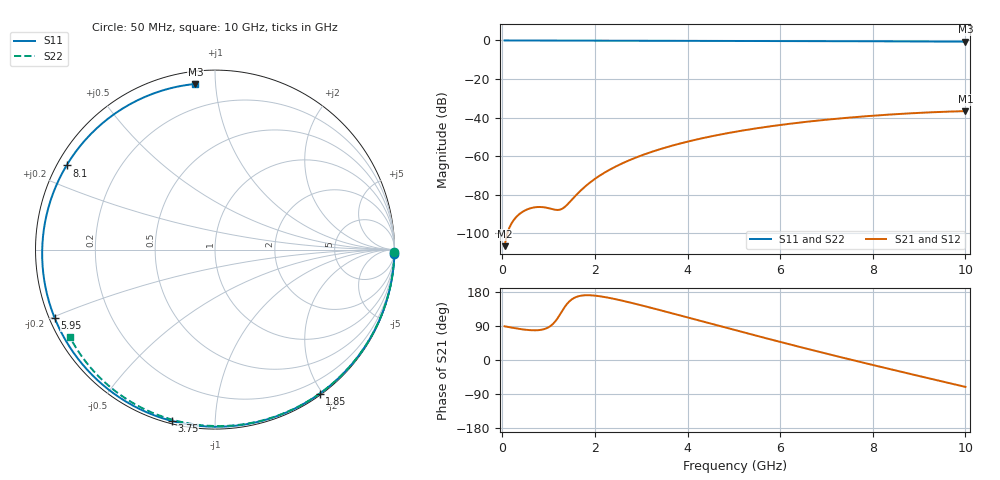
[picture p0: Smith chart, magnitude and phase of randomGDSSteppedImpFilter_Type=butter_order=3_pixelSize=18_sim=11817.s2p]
! freq	dB(S11)	phase(S11)	dB(S12)	phase(S12)
!  dB(S21)	phase(S21)	dB(S22)	phase(S22)
!S-par simulation data
#  GHz  S  DB  R 50
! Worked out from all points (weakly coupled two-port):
!   200 points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, 50 MHz to 10 GHz, reference 50 ohm
!   highest |S21| = -36.69 dB at 10 GHz (marker M1); lowest = -106.8 dB at 50 MHz (marker M2)
!   lowest |S11| = -0.6 dB at 10 GHz (marker M3), VSWR 27.33, Z = 3.27 + j44.3 ohm
!   |S11| at or under -10 dB: nowhere
!   |S22| runs from -0.5 to 0.0 dB; largest |S21 - S12| = 0
!   S11 on the Smith chart (normalised r, x): 50 MHz: 0, -76; 1.85 GHz: 0.02, -1.96; 3.75 GHz: 0.01, -0.78; 5.95 GHz: 0.02, -0.21; 8.1 GHz: 0.03, +0.26; 10 GHz: 0.07, +0.89
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0.05  -0.00 -1.5  -106.80 89.0  -106.80 89.0  -0.00 -0.9
0.4  -0.02 -12.0  -89.56 81.5  -89.56 81.5  -0.01 -6.9
0.8  -0.03 -23.8  -86.45 79.0  -86.45 79.0  -0.02 -13.7
1.6  -0.06 -47.0  -80.16 166.5  -80.16 166.5  -0.03 -27.2
1.75  -0.06 -51.2  -76.66 170.5  -76.66 170.5  -0.04 -29.7
1.85  -0.07 -54.0  -74.60 171.0  -74.60 171.0  -0.04 -31.4
2.15  -0.08 -62.3  -69.47 167.4  -69.47 167.4  -0.05 -36.4
2.5  -0.09 -71.8  -64.84 159.0  -64.84 159.0  -0.05 -42.1
2.9  -0.10 -82.4  -60.66 147.4  -60.66 147.4  -0.06 -48.5
3.4  -0.12 -95.3  -56.49 131.8  -56.49 131.8  -0.08 -56.5
3.75  -0.13 -104.2  -54.07 120.5  -54.07 120.5  -0.08 -61.9
4.35  -0.16 -118.9  -50.60 101.0  -50.60 101.0  -0.10 -71.1
5.05  -0.20 -135.6  -47.33 78.2  -47.33 78.2  -0.13 -81.5
5.95  -0.25 -156.8  -44.04 49.3  -44.04 49.3  -0.16 -94.4
6.7  -0.31 -174.6  -41.89 25.9  -41.89 25.9  -0.20 -104.8
7.4  -0.37 168.3  -40.25 4.7  -40.25 4.7  -0.25 -114.3
8.1  -0.44 150.5  -38.91 -16.1  -38.91 -16.1  -0.30 -123.7
8.35  -0.46 143.9  -38.50 -23.4  -38.50 -23.4  -0.33 -127.0
8.8  -0.51 131.7  -37.85 -36.5  -37.85 -36.5  -0.37 -132.9
9.25  -0.56 119.0  -37.31 -49.5  -37.31 -49.5  -0.41 -138.9
9.65  -0.60 107.3  -36.93 -61.0  -36.93 -61.0  -0.46 -144.1
10  -0.64 96.8  -36.69 -71.0  -36.69 -71.0  -0.50 -148.8
